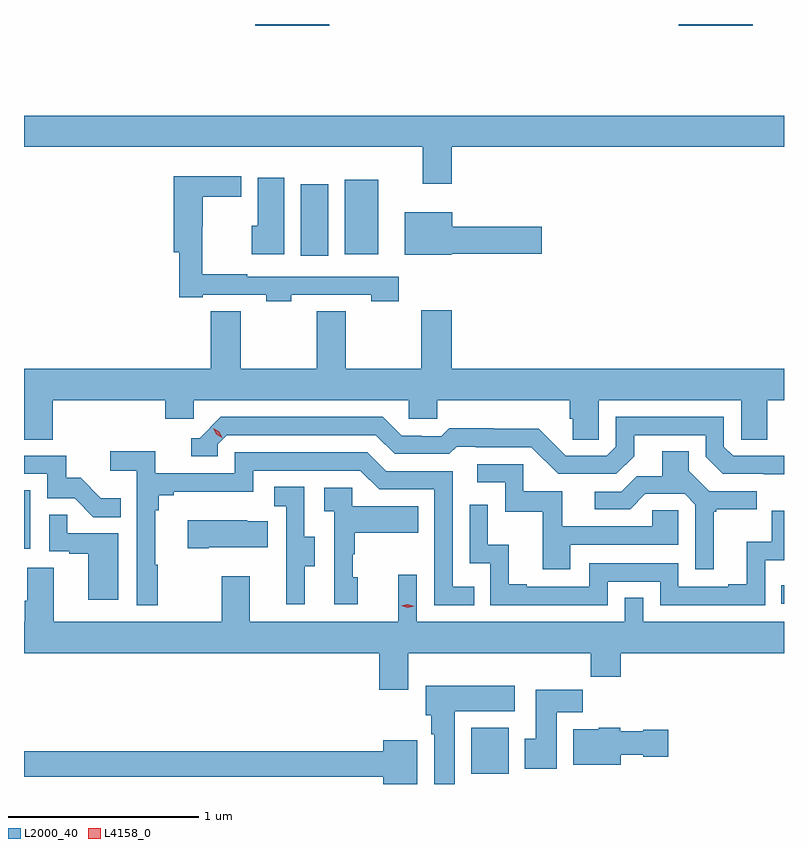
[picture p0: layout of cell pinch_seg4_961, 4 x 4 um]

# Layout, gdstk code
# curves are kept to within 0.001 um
import gdstk
lib = gdstk.Library(unit=1e-6, precision=1e-09)
def R(c, l, rs):  # rectangles x0, y0, x1, y1
    for r in rs: c.add(gdstk.rectangle(r[:2], r[2:], *l))
def P(c, l, *ps):  # polygons
    for p in ps: c.add(gdstk.Polygon(p, *l))
L2000_40 = (2000, 40)
L4158_0 = (4158, 0)

pinch_seg4_961 = lib.new_cell('pinch_seg4_961')
R(pinch_seg4_961, L2000_40, [(878.87,786.86,879.067,787.102), (880.501,787.755,880.516,787.852), (876.516,788.046,876.55,788.353), (877.973,789.588,878.116,789.964), (878.204,789.596,878.38,789.988), (877.734,790.798,878.122,790.807), (879.962,790.798,880.351,790.807)])
P(pinch_seg4_961, L2000_40, [(878.768,790.16),(880.516,790.16),(880.516,790.324),(876.516,790.324),(876.516,790.16),(878.615,790.16),(878.615,789.966),(878.768,789.966)],
  [(877.923,789.381),(878.343,789.381),(878.343,789.349),(878.488,789.349),(878.488,789.477),(877.691,789.477),(877.691,789.49),(877.454,789.49),(877.454,789.741),(877.456,789.741),(877.456,789.897),(877.66,789.897),(877.66,790.006),(877.304,790.006),(877.304,789.605),(877.333,789.605),(877.333,789.369),(877.456,789.369),(877.456,789.381),(877.791,789.381),(877.791,789.349),(877.923,789.349)],
  [(877.885,789.997),(877.745,789.997),(877.745,789.744),(877.715,789.744),(877.715,789.596),(877.885,789.596)],
  [(878.766,789.599),(879.241,789.599),(879.241,789.741),(878.77,789.741),(878.77,789.817),(878.519,789.817),(878.519,789.593),(878.766,789.593)],
  [(876.668,788.828),(877.259,788.828),(877.259,788.73),(877.41,788.73),(877.41,788.828),(878.541,788.828),(878.541,788.73),(878.691,788.73),(878.691,788.828),(879.389,788.828),(879.389,788.73),(879.403,788.73),(879.403,788.62),(879.54,788.62),(879.54,788.828),(880.29,788.828),(880.29,788.62),(880.429,788.62),(880.429,788.828),(880.516,788.828),(880.516,788.992),(878.768,788.992),(878.768,789.301),(878.608,789.301),(878.608,788.992),(878.21,788.992),(878.21,789.296),(878.056,789.296),(878.056,788.992),(877.658,788.992),(877.658,789.296),(877.499,789.296),(877.499,788.992),(876.516,788.992),(876.516,788.62),(876.668,788.62)],
  [(880.516,788.535),(880.248,788.535),(880.2,788.583),(880.2,788.739),(879.63,788.739),(879.63,788.583),(879.582,788.535),(879.366,788.535),(879.224,788.677),(878.988,788.677),(878.988,788.68),(878.755,788.68),(878.713,788.637),(878.61,788.637),(878.61,788.64),(878.503,788.64),(878.404,788.739),(877.551,788.739),(877.44,788.628),(877.397,788.628),(877.397,788.532),(877.536,788.532),(877.536,788.595),(877.584,788.643),(878.367,788.643),(878.466,788.544),(878.755,788.544),(878.794,788.583),(878.893,788.583),(878.893,788.58),(879.186,788.58),(879.327,788.439),(879.633,788.439),(879.727,788.533),(879.727,788.643),(880.104,788.643),(880.104,788.529),(880.194,788.439),(880.516,788.438)],
  [(877.219,787.961),(877.207,787.961),(877.207,788.249),(877.226,788.249),(877.226,788.326),(877.303,788.326),(877.303,788.345),(877.722,788.345),(877.722,788.457),(878.286,788.457),(878.385,788.358),(878.676,788.358),(878.676,787.749),(878.885,787.749),(878.885,787.845),(878.772,787.845),(878.772,788.454),(878.422,788.454),(878.323,788.553),(877.626,788.553),(877.626,788.442),(877.208,788.442),(877.208,788.558),(876.969,788.558),(876.969,788.456),(877.11,788.456),(877.11,787.749),(877.219,787.749)],
  [(880.147,788.241),(880.159,788.241),(880.159,788.252),(880.372,788.252),(880.372,788.349),(880.122,788.349),(880.015,788.456),(880.015,788.558),(879.875,788.558),(879.875,788.426),(879.74,788.426),(879.66,788.346),(879.519,788.346),(879.519,788.253),(879.706,788.253),(879.787,788.334),(879.993,788.334),(880.05,788.277),(880.05,787.938),(880.147,787.938)],
  [(877.025,788.311),(876.921,788.311),(876.814,788.418),(876.738,788.418),(876.738,788.535),(876.516,788.535),(876.516,788.439),(876.639,788.439),(876.639,788.31),(876.783,788.31),(876.881,788.212),(877.025,788.212)],
  [(879.391,788.067),(879.96,788.067),(879.96,788.247),(879.823,788.247),(879.823,788.163),(879.349,788.163),(879.349,788.349),(879.144,788.349),(879.144,788.49),(878.901,788.49),(878.901,788.394),(879.048,788.394),(879.048,788.241),(879.247,788.241),(879.247,787.938),(879.391,787.938)],
  [(877.993,787.954),(878.047,787.954),(878.047,788.109),(877.992,788.109),(877.992,788.372),(877.833,788.372),(877.833,788.269),(877.896,788.269),(877.896,787.965),(877.895,787.965),(877.895,787.752),(877.993,787.752)],
  [(878.272,787.896),(878.247,787.896),(878.247,788.015),(878.257,788.015),(878.257,788.129),(878.591,788.129),(878.591,788.269),(878.244,788.269),(878.244,788.367),(878.097,788.367),(878.097,788.243),(878.148,788.243),(878.148,787.752),(878.272,787.752)],
  [(879.588,787.872),(879.864,787.872),(879.864,787.749),(880.416,787.749),(880.416,787.985),(880.516,787.985),(880.516,788.244),(880.452,788.244),(880.452,788.083),(880.319,788.083),(880.319,787.858),(880.223,787.858),(880.223,787.845),(879.96,787.845),(879.96,787.968),(879.492,787.968),(879.492,787.845),(879.163,787.845),(879.163,787.858),(879.068,787.858),(879.068,788.066),(878.958,788.066),(878.958,788.278),(878.862,788.278),(878.862,787.968),(878.97,787.968),(878.97,787.749),(879.588,787.749)],
  [(877.012,788.127),(876.743,788.127),(876.743,788.225),(876.648,788.225),(876.648,788.031),(876.755,788.031),(876.755,788.019),(876.854,788.019),(876.854,787.776),(877.012,787.776)],
  [(877.489,788.054),(877.799,788.054),(877.799,788.191),(877.691,788.191),(877.691,788.194),(877.377,788.194),(877.377,788.047),(877.489,788.047)],
  [(879.499,787.372),(879.656,787.372),(879.656,787.496),(880.516,787.496),(880.516,787.66),(879.774,787.66),(879.774,787.787),(879.678,787.787),(879.678,787.66),(878.583,787.66),(878.583,787.909),(878.486,787.909),(878.486,787.66),(877.705,787.66),(877.705,787.9),(877.558,787.9),(877.558,787.66),(876.673,787.66),(876.673,787.946),(876.533,787.946),(876.533,787.772),(876.521,787.772),(876.521,787.66),(876.516,787.66),(876.516,787.496),(878.387,787.496),(878.387,787.302),(878.539,787.302),(878.539,787.496),(879.499,787.496)],
  [(878.782,787.19),(879.1,787.19),(879.1,787.324),(878.63,787.324),(878.63,787.17),(878.66,787.17),(878.66,787.07),(878.675,787.07),(878.675,786.807),(878.782,786.807)],
  [(879.319,787.184),(879.458,787.184),(879.458,787.303),(879.209,787.303),(879.209,787.044),(879.152,787.044),(879.152,786.888),(879.319,786.888)],
  [(879.658,786.962),(879.774,786.962),(879.774,786.95),(879.907,786.95),(879.907,787.092),(879.774,787.092),(879.774,787.084),(879.654,787.084),(879.654,787.102),(879.54,787.102),(879.54,787.096),(879.407,787.096),(879.407,786.908),(879.658,786.908)],
  [(878.587,787.036),(878.408,787.036),(878.408,786.98),(876.516,786.98),(876.516,786.844),(878.408,786.844),(878.408,786.807),(878.587,786.807)])
P(pinch_seg4_961, L4158_0, [(878.536,787.734),(878.501,787.745),(878.5,787.745),(878.501,787.745),(878.536,787.754),(878.571,787.743),(878.571,787.743),(878.571,787.743)],
  [(877.56,788.629),(877.529,788.648),(877.512,788.68),(877.512,788.68),(877.512,788.68),(877.543,788.661),(877.56,788.629),(877.56,788.629)])

lib.write_gds('pinch_seg4_961.gds')
